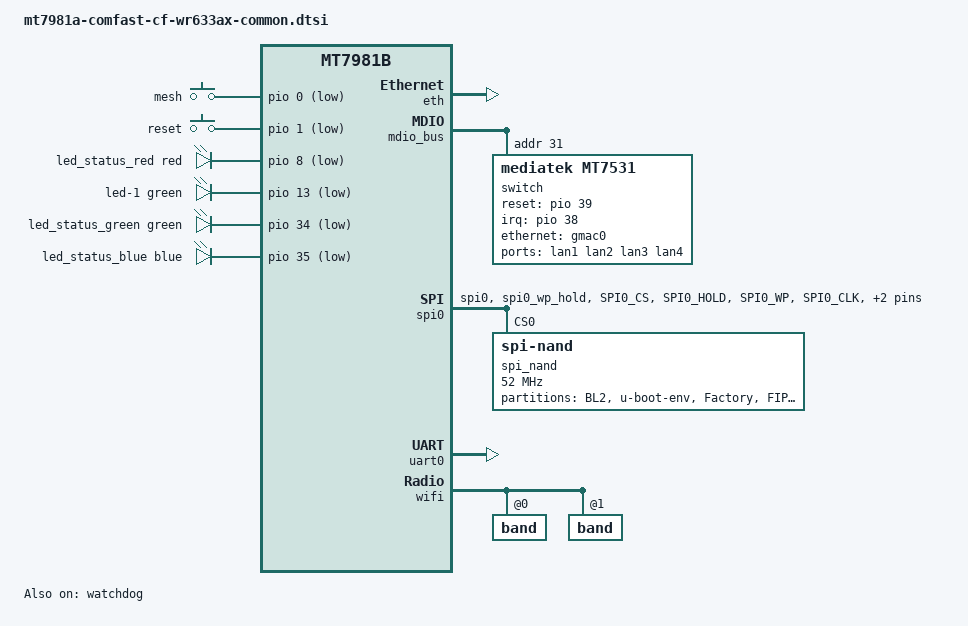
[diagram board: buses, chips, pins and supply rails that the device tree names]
// SPDX-License-Identifier: GPL-2.0-or-later OR MIT

/dts-v1/;

#include "mt7981b.dtsi"

/ {
	aliases {
		label-mac-device = &gmac0;
		led-boot = &led_status_red;
		led-failsafe = &led_status_red;
		led-running = &led_status_blue;
		led-upgrade = &led_status_green;
		serial0 = &uart0;
	};

	chosen: chosen {
		stdout-path = "serial0:115200n8";
	};

	gpio-keys {
		compatible = "gpio-keys";

		mesh {
			label = "mesh";
			linux,code = <BTN_9>;
			linux,input-type = <EV_SW>;
			gpios = <&pio 0 GPIO_ACTIVE_LOW>;
		};

		reset {
			label = "reset";
			linux,code = <KEY_RESTART>;
			gpios = <&pio 1 GPIO_ACTIVE_LOW>;
		};
	};

	leds {
		compatible = "gpio-leds";

		led_status_red: led-0 {
			color = <LED_COLOR_ID_RED>;
			function = LED_FUNCTION_STATUS;
			gpios = <&pio 8 GPIO_ACTIVE_LOW>;
		};

		led-1 {
			color = <LED_COLOR_ID_GREEN>;
			function = LED_FUNCTION_WAN;
			gpios = <&pio 13 GPIO_ACTIVE_LOW>;
		};

		led_status_green: led-2 {
			color = <LED_COLOR_ID_GREEN>;
			function = LED_FUNCTION_STATUS;
			gpios = <&pio 34 GPIO_ACTIVE_LOW>;
		};

		led_status_blue: led-3 {
			color = <LED_COLOR_ID_BLUE>;
			function = LED_FUNCTION_STATUS;
			gpios = <&pio 35 GPIO_ACTIVE_LOW>;
		};
	};
};

&eth {
	status = "okay";

	gmac0: mac@0 {
		compatible = "mediatek,eth-mac";
		reg = <0>;
		phy-mode = "2500base-x";

		nvmem-cell-names = "mac-address";
		nvmem-cells = <&macaddr_factory_e000 0>;

		fixed-link {
			speed = <2500>;
			full-duplex;
			pause;
		};
	};

	gmac1: mac@1 {
		compatible = "mediatek,eth-mac";
		reg = <1>;
		label = "wan";
		phy-mode = "gmii";
		phy-handle = <&int_gbe_phy>;

		nvmem-cell-names = "mac-address";
		nvmem-cells = <&macaddr_factory_e000 1>;
	};

};

&mdio_bus {
	switch: switch@1f {
		compatible = "mediatek,mt7531";
		reg = <31>;
		reset-gpios = <&pio 39 GPIO_ACTIVE_HIGH>;
		interrupt-controller;
		#interrupt-cells = <1>;
		interrupt-parent = <&pio>;
		interrupts = <38 IRQ_TYPE_LEVEL_HIGH>;
	};
};

&pio {
	spi0_flash_pins: spi0-pins {
		mux {
			function = "spi";
			groups = "spi0", "spi0_wp_hold";
		};

		conf-pu {
			pins = "SPI0_CS", "SPI0_HOLD", "SPI0_WP";
			drive-strength = <MTK_DRIVE_4mA>;
			bias-pull-up = <MTK_PUPD_SET_R1R0_11>;
		};

		conf-pd {
			pins = "SPI0_CLK", "SPI0_MOSI", "SPI0_MISO";
			drive-strength = <MTK_DRIVE_4mA>;
			bias-pull-down = <MTK_PUPD_SET_R1R0_11>;
		};
	};
};

&spi0 {
	pinctrl-names = "default";
	pinctrl-0 = <&spi0_flash_pins>;
	status = "okay";

	spi_nand: flash@0 {
		compatible = "spi-nand";
		reg = <0>;

		spi-max-frequency = <52000000>;
		spi-tx-bus-width = <4>;
		spi-rx-bus-width = <4>;

		partitions {
			compatible = "fixed-partitions";
			#address-cells = <1>;
			#size-cells = <1>;

			partition@0 {
				label = "BL2";
				reg = <0x00000 0x0100000>;
				read-only;
			};

			partition@100000 {
				label = "u-boot-env";
				reg = <0x0100000 0x0080000>;
			};

			partition@180000 {
				label = "Factory";
				reg = <0x180000 0x0200000>;
				read-only;

				nvmem-layout {
					compatible = "fixed-layout";
					#address-cells = <1>;
					#size-cells = <1>;

					eeprom_factory_0: eeprom@0 {
						reg = <0x0 0x1000>;
					};

					macaddr_factory_e000: macaddr@e000 {
						compatible = "mac-base";
						reg = <0xe000 0x6>;
						#nvmem-cell-cells = <1>;
					};

					macaddr_factory_4: macaddr@4 {
						compatible = "mac-base";
						reg = <0x4 0x6>;
						#nvmem-cell-cells = <1>;
					};

					macaddr_factory_8000: macaddr@8000 {
						compatible = "mac-base";
						reg = <0x8000 0x6>;
						#nvmem-cell-cells = <1>;
					};
				};
			};

			partition@380000 {
				label = "FIP";
				reg = <0x380000 0x0200000>;
				read-only;
			};

			ubi: partition@580000 {
				label = "ubi";
				compatible = "linux,ubi";
			};
		};
	};
};

&switch {
	ports {
		#address-cells = <1>;
		#size-cells = <0>;

		port@0 {
			reg = <0>;
			label = "lan1";
		};

		port@1 {
			reg = <1>;
			label = "lan2";
		};

		port@2 {
			reg = <2>;
			label = "lan3";
		};

		port@3 {
			reg = <3>;
			label = "lan4";
		};

		port@6 {
			reg = <6>;
			ethernet = <&gmac0>;
			phy-mode = "2500base-x";

			fixed-link {
				speed = <2500>;
				full-duplex;
				pause;
			};
		};
	};
};

&uart0 {
	status = "okay";
};

&watchdog {
	status = "okay";
};

&wifi {
	#address-cells = <1>;
	#size-cells = <0>;
	nvmem-cells = <&eeprom_factory_0>;
	nvmem-cell-names = "eeprom";
	status = "okay";

	band@0 {
		reg = <0>;
		nvmem-cells = <&macaddr_factory_4 0>;
		nvmem-cell-names = "mac-address";
	};

	band@1 {
		reg = <1>;
		nvmem-cells = <&macaddr_factory_8000 0>;
		nvmem-cell-names = "mac-address";
	};
};
